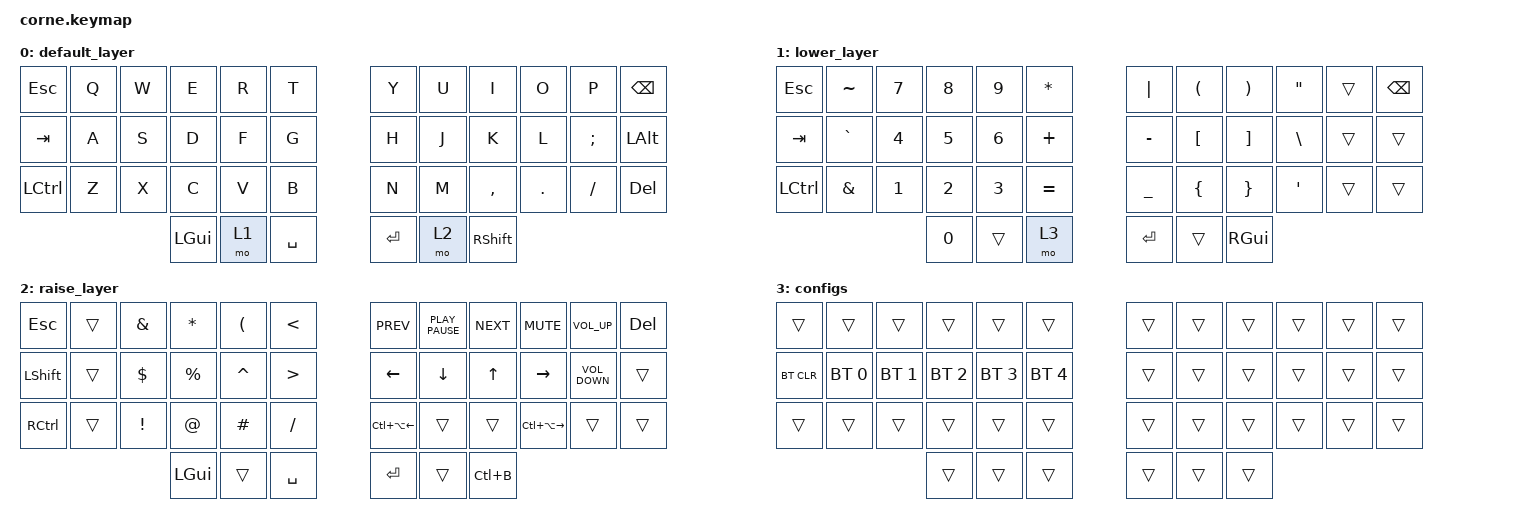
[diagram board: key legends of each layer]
/*
 * Copyright (c) 2020 The ZMK Contributors
 *
 * SPDX-License-Identifier: MIT
 */

#include <behaviors.dtsi>
#include <dt-bindings/zmk/bt.h>
#include <dt-bindings/zmk/keys.h>

/ {
    combos {
        compatible = "zmk,combos";

        Rwkp {
            bindings = <&kp LC(LG(RIGHT))>;
            key-positions = <36 37 21>;
            layers = <0>;
        };
    };

    keymap {
        compatible = "zmk,keymap";

        default_layer {
            // -----------------------------------------------------------------------------------------
            // |  TAB |  Q  |  W  |  E  |  R  |  T  |   |  Y  |  U   |  I  |  O  |  P  | BKSP |
            // | CTRL |  A  |  S  |  D  |  F  |  G  |   |  H  |  J   |  K  |  L  |  ;  |  '   |
            // | SHFT |  Z  |  X  |  C  |  V  |  B  |   |  N  |  M   |  ,  |  .  |  /  | ESC  |
            //                    | GUI | LWR | SPC |   | ENT | RSE  | ALT |

            bindings = <
&kp ESC           &kp Q  &kp W  &kp E     &kp R  &kp T        &kp Y    &kp U  &kp I            &kp O    &kp P     &kp BSPC
&kp TAB           &kp A  &kp S  &kp D     &kp F  &kp G        &kp H    &kp J  &kp K            &kp L    &kp SEMI  &kp LEFT_ALT
&kp LEFT_CONTROL  &kp Z  &kp X  &kp C     &kp V  &kp B        &kp N    &kp M  &kp COMMA        &kp DOT  &kp FSLH  &kp DEL
                                &kp LGUI  &mo 1  &kp SPACE    &kp RET  &mo 2  &kp RIGHT_SHIFT
            >;
        };

        lower_layer {
            // -----------------------------------------------------------------------------------------
            // |  TAB |  1  |  2  |  3  |  4  |  5  |   |  6  |  7  |  8  |  9  |  0  | BKSP |
            // | BTCLR| BT1 | BT2 | BT3 | BT4 | BT5 |   | LFT | DWN |  UP | RGT |     |      |
            // | SHFT |     |     |     |     |     |   |     |     |     |     |     |      |
            //                    | GUI |     | SPC |   | ENT |     | ALT |

            bindings = <
&kp ESC    &kp TILDE  &kp N7  &kp N8  &kp N9  &kp ASTRK    &kp PIPE        &kp LPAR  &kp RPAR  &kp DOUBLE_QUOTES  &trans  &kp BSPC
&kp TAB    &kp GRAVE  &kp N4  &kp N5  &kp N6  &kp PLUS     &kp MINUS       &kp LBKT  &kp RBKT  &kp BACKSLASH      &trans  &trans
&kp LCTRL  &kp AMPS   &kp N1  &kp N2  &kp N3  &kp EQUAL    &kp UNDERSCORE  &kp LBRC  &kp RBRC  &kp SINGLE_QUOTE   &trans  &trans
                              &kp N0  &trans  &mo 3        &kp RET         &trans    &kp RGUI
            >;
        };

        raise_layer {
            // -----------------------------------------------------------------------------------------
            // |  TAB |  !  |  @  |  #  |  $  |  %  |   |  ^  |  &  |  *  |  (  |  )  | BKSP |
            // | CTRL |     |     |     |     |     |   |  -  |  =  |  [  |  ]  |  \  |  `   |
            // | SHFT |     |     |     |     |     |   |  _  |  +  |  {  |  }  | "|" |  ~   |
            //                    | GUI |     | SPC |   | ENT |     | ALT |

            bindings = <
&kp ESC     &trans  &kp AMPS  &kp ASTERISK  &kp LEFT_PARENTHESIS  &kp LT       &kp C_PREV        &kp K_PLAY_PAUSE  &kp C_NEXT  &kp K_MUTE         &kp C_VOLUME_UP    &kp DEL
&kp LSHIFT  &trans  &kp DLLR  &kp PRCNT     &kp CARET             &kp GT       &kp LEFT          &kp DOWN          &kp UP      &kp RIGHT          &kp C_VOLUME_DOWN  &trans
&kp RCTRL   &trans  &kp EXCL  &kp AT        &kp POUND             &kp SLASH    &kp LC(LA(LEFT))  &trans            &trans      &kp LC(LA(RIGHT))  &trans             &trans
                              &kp LGUI      &trans                &kp SPACE    &kp RET           &trans            &kp LC(B)
            >;
        };

        configs {
            bindings = <
&trans      &trans        &trans        &trans        &trans        &trans          &trans  &trans  &trans  &trans  &trans  &trans
&bt BT_CLR  &bt BT_SEL 0  &bt BT_SEL 1  &bt BT_SEL 2  &bt BT_SEL 3  &bt BT_SEL 4    &trans  &trans  &trans  &trans  &trans  &trans
&trans      &trans        &trans        &trans        &trans        &trans          &trans  &trans  &trans  &trans  &trans  &trans
                                        &trans        &trans        &trans          &trans  &trans  &trans
            >;
        };
    };
};
